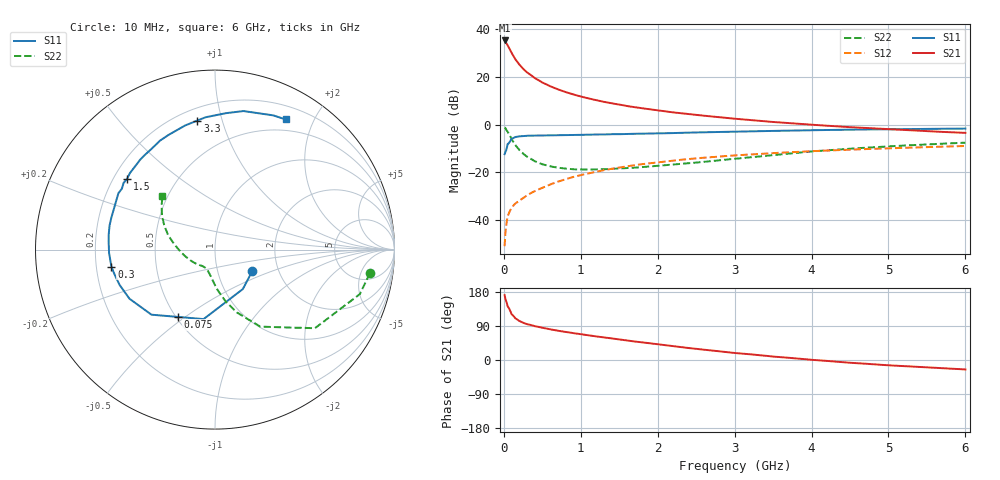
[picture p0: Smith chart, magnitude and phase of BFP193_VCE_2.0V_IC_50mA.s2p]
! Infineon Technologies  Discrete & RF Semiconductors
! BFP193
! VCE = 2.0 V,  IC =  50 mA
! Common Emitter S-Parameters:  Jan 2016
# GHz  S  MA  R  50
!  f  S11  S21  S12  S22
! GHz  MAG  ANG  MAG  ANG  MAG  ANG  MAG  ANG
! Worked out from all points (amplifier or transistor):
!   210 points, 10 MHz to 6 GHz, reference 50 ohm
!   highest |S21| = 35.3 dB at 10 MHz (marker M1)
!   |S21| within 3 dB of that: start of sweep to 65.44 MHz
!   unconditionally stable (mu >= 1): 446 MHz to 3.981 GHz
!   at 185 MHz: K = 0.73, MSG = 29.1 dB, |S12| = -32.3 dB
!   at 1.52 GHz: K = 1.08, MAG = 11.4 dB, |S12| = -17.9 dB
!   at 6 GHz: K = 0.95, MSG = 2.8 dB, |S12| = -9.0 dB
!   S11 on the Smith chart (normalised r, x): 10 MHz: 1.47, -0.38; 75 MHz: 0.51, -0.47; 300 MHz: 0.26, -0.08; 1.5 GHz: 0.25, +0.33; 3.3 GHz: 0.27, +0.83; 6 GHz: 0.36, +1.62
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0.01  0.24 -30.3  58.51 171.2  0.0028 77.9  0.8733 -8.7
0.02  0.2691 -54.8  55.85 161.7  0.0053 78.1  0.844 -17.1
0.05  0.3923 -99.3  46.31 141.6  0.0119 63.9  0.7084 -38.2
0.075  0.429 -119.1  38.57 133.2  0.0149 60.0  0.5933 -47.0
0.1  0.5067 -134.3  32.05 121.1  0.018 57.5  0.4984 -59.5
0.15  0.5494 -150.1  23.45 109.9  0.0221 55.8  0.3703 -70.9
0.2  0.5666 -159.6  18.35 103.1  0.0252 56.8  0.2958 -78.3
0.24  0.5742 -164.8  15.53 99.4  0.0279 57.5  0.2546 -82.5
0.26  0.5781 -167.0  14.38 97.6  0.0294 58.3  0.2382 -84.6
0.3  0.5848 -170.7  12.55 94.7  0.0328 60.4  0.2135 -88.0
0.4  0.5906 -178.3  9.544 89.4  0.0399 62.4  0.1708 -94.6
0.5  0.5938 176.5  7.657 85.0  0.0469 64.4  0.1468 -100.1
0.6  0.5983 171.7  6.412 81.0  0.0551 64.8  0.1333 -104.6
0.8  0.6041 163.8  4.836 74.1  0.0709 64.5  0.1193 -112.6
1.02  0.6102 155.7  3.817 67.5  0.0884 63.7  0.1142 -119.3
1.5  0.6288 141.2  2.64 54.3  0.1254 58.4  0.1204 -133.1
2.02  0.656 126.9  1.963 41.0  0.1634 51.9  0.1374 -148.5
3.1  0.7154 101.6  1.289 16.9  0.2306 37.7  0.1981 -178.6
3.3  0.7257 97.8  1.21 13.2  0.2413 35.2  0.2127 176.7
4.1  0.7662 84.1  0.971 -0.9  0.2811 25.3  0.2806 161.1
5.1  0.801 70.9  0.786 -15.0  0.3216 14.1  0.356 146.1
6  0.825 61.5  0.671 -24.9  0.3556 4.3  0.4176 134.5
